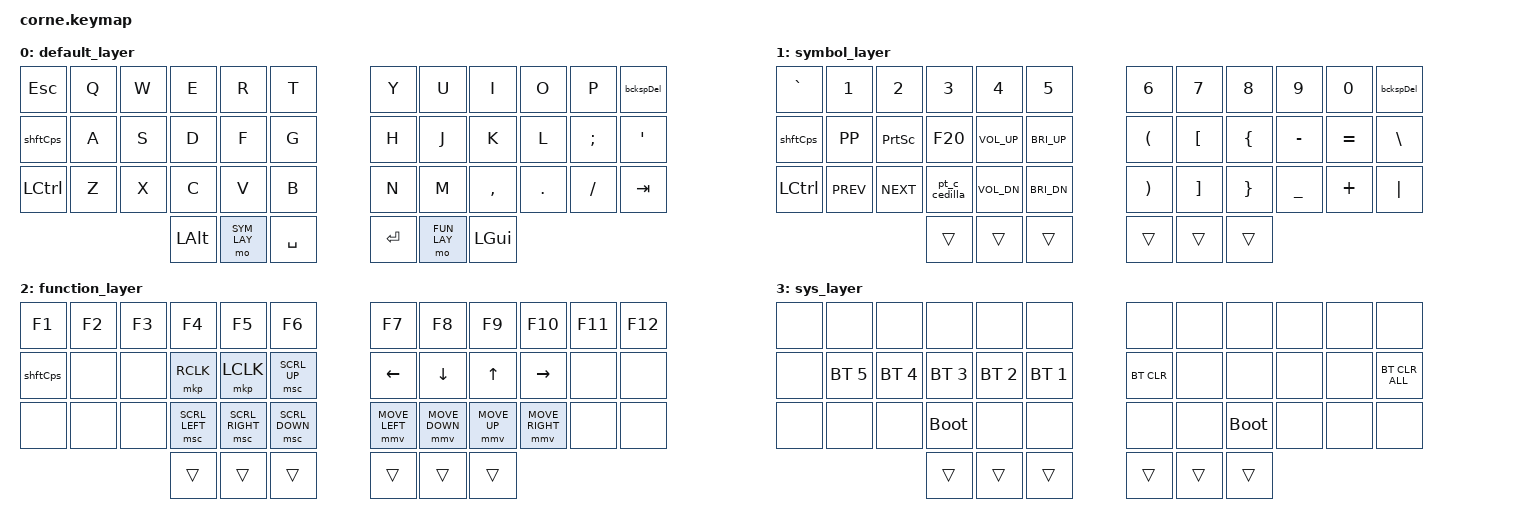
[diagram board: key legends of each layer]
/*
 * Copyright (c) 2020 The ZMK Contributors
 *
 * SPDX-License-Identifier: MIT
 */

#include <behaviors.dtsi>
#include <dt-bindings/zmk/keys.h>
#include <dt-bindings/zmk/bt.h>
#include <dt-bindings/zmk/pointing.h>

#define HOST_OS 1
#include "zmk-helpers/helper.h"
#include "zmk-helpers/key-labels/42.h"
#include "zmk-helpers/unicode-chars/portuguese.dtsi"

// Define layer names
#define DEFAULT 0
#define SYM_LAY 1
#define FUN_LAY 2
#define SYS_LAY 3

// Define mouse configs
#define ZMK_POINTING_DEFAULT_MOVE_VAL 1000 
#define ZMK_POINTING_DEFAULT_SCRL_VAL 10 

// Define mouse aliases
#define MML MOVE_LEFT 
#define MMD MOVE_DOWN
#define MMU MOVE_UP
#define MMR MOVE_RIGHT
#define SCRL_L SCRL_LEFT 
#define SCRL_D SCRL_DOWN
#define SCRL_U SCRL_UP
#define SCRL_R SCRL_RIGHT 

/ {
    behaviors {
      /* Tap-Dance */
      shftCps: shift_to_caps { // 1-tap the LSHFT key for LSHFT functionality. 2-tap the LSHFT key for CAPSLOCK functionality
        compatible = "zmk,behavior-tap-dance";
        #binding-cells = <0>;
        tapping-term-ms = <200>;
        bindings = <&kp LSHFT>, <&kp CAPSLOCK>;
      };

      /* Mod-Morph */
      bckspDel: backspace_to_delete { // Tap BSPC key whith LSHFT held down for DELETE functionality
        compatible = "zmk,behavior-mod-morph";
        #binding-cells = <0>;
        bindings = <&kp BACKSPACE>, <&kp DELETE>;
        mods = <(MOD_LSFT|MOD_RSFT)>;
      };
    };

    conditional_layers {
        compatible = "zmk,conditional-layers";
        sys_layer {
            if-layers = <SYM_LAY FUN_LAY>;
            then-layer = <SYS_LAY>;
        };
    };

    keymap {
      compatible = "zmk,keymap";

      default_layer {
         bindings = <
// ╭────────────┬────────────┬────────────┬────────────┬────────────┬────────────╮   ╭────────────┬────────────┬────────────┬────────────┬────────────┬────────────╮
// |  ESC       |  q Q       |  w W       |  e E       |  r R       |  t T       |   |  y Y       |  u U       |  i I       |  o O       |  p P       | BKSP[DEL]  |
   &kp ESC      &kp Q        &kp W        &kp E        &kp R        &kp T            &kp Y        &kp U        &kp I        &kp O        &kp P        &bckspDel
// ├────────────┼────────────┼────────────┼────────────┼────────────┼────────────┤   ├────────────┼────────────┼────────────┼────────────┼────────────┼────────────┤
// |L_SHFT CAPS |  a A       |  s S       |  d D       |  f F       |  g G       |   |  h H       |  j J       |  k K       |  l L       |  ; :       |  ' "       |
   &shftCps     &kp A        &kp S        &kp D        &kp F        &kp G            &kp H        &kp J        &kp K        &kp L        &kp SEMI     &kp APOS
// ├────────────┼────────────┼────────────┼────────────┼────────────┼────────────┤   ├────────────┼────────────┼────────────┼────────────┼────────────┼────────────┤
// |  L_CTRL    |  z Z       |  x X       |  c C       |  v V       |  b B       |   |  n N       |  m M       |  , <       |  . >       |  / ?       |  TAB       |
   &kp LCTRL    &kp Z        &kp X        &kp C        &kp V        &kp B            &kp N        &kp M        &kp COMMA    &kp DOT      &kp SLASH    &kp TAB
// ╰────────────┴────────────┴────────────┴────────────┼────────────┼────────────┤   ├────────────┼────────────┼────────────┴────────────┴────────────┴────────────╯
//                                        | LALT LOPT  |  SYM_LAY   |  SPC       |   |  ENT       |  FUN_LAY   |  META      |
                                          &kp LALT     &mo SYM_LAY  &kp SPACE        &kp ENTER    &mo FUN_LAY  &kp LGUI
//                                        ╰────────────┴────────────┴────────────╯   ╰────────────┴────────────┴────────────╯
         >;
      }; 

      symbol_layer {
         bindings = <
// ╭────────────┬────────────┬────────────┬────────────┬────────────┬────────────╮   ╭────────────┬────────────┬────────────┬────────────┬────────────┬────────────╮
// |  ` ~       |  1 !       |  2 @       |  3 #       |  4 $       |  5 %       |   |  6 ^       |  7 &       |  8 *       |  9 (       |  0 )       | BKSP[DEL]  |
   &kp GRAVE    &kp N1       &kp N2       &kp N3       &kp N4       &kp N5           &kp N6       &kp N7       &kp N8       &kp N9       &kp N0       &bckspDel
// ├────────────┼────────────┼────────────┼────────────┼────────────┼────────────┤   ├────────────┼────────────┼────────────┼────────────┼────────────┼────────────┤
// |L_SHFT CAPS | PLAY/PAUSE | PRT_SCR    | MUTE_MIC   |  VOL_UP    |  BRT_UP    |   |  (         |  [ {       |  {         |  - _       |  = +       |   \ |      |
   &shftCps     &kp K_PP     &kp PSCRN    &kp F20      &kp K_VOL_UP &kp C_BRI_UP     &kp LPAR     &kp LBKT     &kp LBRC     &kp MINUS    &kp EQUAL    &kp BSLH
// ├────────────┼────────────┼────────────┼────────────┼────────────┼────────────┤   ├────────────┼────────────┼────────────┼────────────┼────────────┼────────────┤
// |  L_CTRL    | PREV MEDIA | NEXT MEDIA |  ç Ç       |  VOL_DW    |  BRT_DW    |   |  )         |  ] }       |  }         |  _         |  +         |   |        |
   &kp LCTRL    &kp K_PREV   &kp K_NEXT   &pt_c_cedilla &kp K_VOL_DN &kp C_BRI_DN     &kp RPAR     &kp RBKT     &kp RBRC     &kp UNDER    &kp PLUS     &kp PIPE
// ╰────────────┴────────────┴────────────┴────────────┼────────────┼────────────┤   ├────────────┼────────────┼────────────┴────────────┴────────────┴────────────╯
//                                        | LALT LOPT  |  SYM_LAY   |  SPC       |   |  ENT       |  FUN_LAY   |  META      |
                                          &trans       &trans       &trans           &trans       &trans       &trans
//                                        ╰────────────┴────────────┴────────────╯   ╰────────────┴────────────┴────────────╯
         >;
      };      

      function_layer {
         bindings = <
// ╭────────────┬────────────┬────────────┬────────────┬────────────┬────────────╮   ╭────────────┬────────────┬────────────┬────────────┬────────────┬────────────╮
// |  F1        |  F2        |  F3        |  F4        |  F5        |  F6        |   |  F7        |  F8        |  F9        |  F10       |  F11       |  F12       |
   &kp F1       &kp F2       &kp F3       &kp F4       &kp F5       &kp F6           &kp F7       &kp F8       &kp F9       &kp F10      &kp F11      &kp F12      
// ├────────────┼────────────┼────────────┼────────────┼────────────┼────────────┤   ├────────────┼────────────┼────────────┼────────────┼────────────┼────────────┤
// |L_SHFT CAPS |            |            | RGT CLICK  | LFT CLICK  | SCROLL UP  |   |  LFT       |  DNW       |  UP        |  RGT       |            |            |
   &shftCps     &none        &none        &mkp RCLK    &mkp LCLK    &msc SCRL_U      &kp LEFT     &kp DOWN     &kp UP       &kp RIGHT    &none        &none
// ├────────────┼────────────┼────────────┼────────────┼────────────┼────────────┤   ├────────────┼────────────┼────────────┼────────────┼────────────┼────────────┤
// |            |            |            | SCROLL LFT | SCROLL RGT | SCROLL DNW |   | MOUSE LFT  | MOUSE RGT  | MOUSE UP   | MOUSE LFT  |            |            |
   &none        &none        &none        &msc SCRL_L  &msc SCRL_R  &msc SCRL_D      &mmv MML     &mmv MMD     &mmv MMU     &mmv MMR     &none        &none
// ╰────────────┴────────────┴────────────┴────────────┼────────────┼────────────┤   ├────────────┼────────────┼────────────┴────────────┴────────────┴────────────╯
//                                        | LALT LOPT  |  SYM_LAY   |  SPC       |   |  ENT       |  FUN_LAY   |  META      |
                                          &trans       &trans       &trans           &trans       &trans       &trans
//                                        ╰────────────┴────────────┴────────────╯   ╰────────────┴────────────┴────────────╯
         >;
      };

      sys_layer {
         bindings = <
// ╭────────────┬────────────┬────────────┬────────────┬────────────┬────────────╮   ╭────────────┬────────────┬────────────┬────────────┬────────────┬────────────╮
// |            |            |            |            |            |            |   |            |            |            |            |            |            |
   &none        &none        &none        &none        &none        &none            &none        &none        &none        &none        &none        &none 
// ├────────────┼────────────┼────────────┼────────────┼────────────┼────────────┤   ├────────────┼────────────┼────────────┼────────────┼────────────┼────────────┤
// |            |  BLE_5     |  BLE_4     |  BLE_3     |  BLE_2     |  BLE_1     |   |  BLE_CLR   |            |            |            |            | BT_CLR_ALL |
   &none         &bt BT_SEL 5 &bt BT_SEL 4 &bt BT_SEL 3 &bt BT_SEL 2 &bt BT_SEL 1     &bt BT_CLR  &none        &none        &none        &none        &bt BT_CLR_ALL
// ├────────────┼────────────┼────────────┼────────────┼────────────┼────────────┤   ├────────────┼────────────┼────────────┼────────────┼────────────┼────────────┤
// |            |            |            |  RST       |            |            |   |            |            |  RST       |            |            |            |
   &none        &none        &none        &bootloader  &none        &none            &none        &none        &bootloader  &none        &none        &none 
// ╰────────────┴────────────┴────────────┴────────────┼────────────┼────────────┤   ├────────────┼────────────┼────────────┴────────────┴────────────┴────────────╯
//                                        | LALT LOPT  |            |  SPC       |   |  ENT       |            |  META      |
                                          &trans       &trans       &trans           &trans       &trans       &trans
//                                        ╰────────────┴────────────┴────────────╯   ╰────────────┴────────────┴────────────╯
         >;
      };
   };
};
